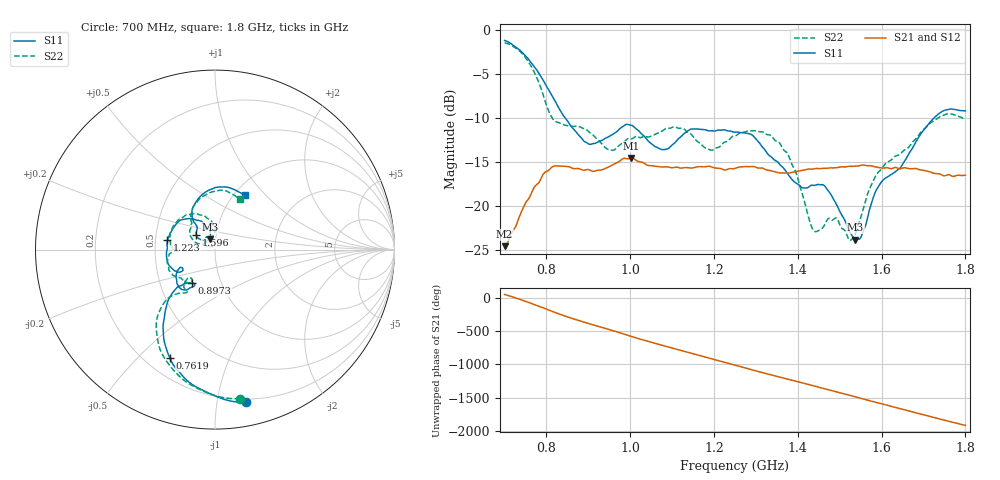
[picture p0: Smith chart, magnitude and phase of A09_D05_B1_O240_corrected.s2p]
! Created with skrf 1.9.0 (http://scikit-rf.org).
# Hz S RI R 50.0
!freq ReS11 ImS11 ReS21 ImS21 ReS12 ImS12 ReS22 ImS22
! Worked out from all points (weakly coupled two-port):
!   1601 points, 700 MHz to 1.8 GHz, reference 50 ohm
!   highest |S21| = -14.57 dB at 1.002 GHz (marker M1); lowest = -24.6 dB at 700 MHz (marker M2)
!   lowest |S11| = -23.8 dB at 1.537 GHz (marker M3), VSWR 1.14, Z = 46.9 + j5.44 ohm
!   |S11| at or under -10 dB: 844.1 MHz to 1.726 GHz (881.4 MHz wide, 68.6 % of centre)
!   |S22| runs from -23.9 to -1.5 dB; largest |S21 - S12| = 0.0035
!   S11 on the Smith chart (normalised r, x): 700 MHz: 0.17, -1.20; 761.9 MHz: 0.30, -0.63; 897.3 MHz: 0.72, -0.29; 1.223 GHz: 0.58, +0.07; 1.596 GHz: 0.80, +0.13; 1.8 GHz: 1.12, +0.77
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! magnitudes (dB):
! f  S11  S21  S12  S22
! 700 MHz  -1.2  -24.6  -24.4  -1.5
! 761.9 MHz  -3.7  -18.8  -18.7  -4.0
! 816.2 MHz  -7.7  -15.5  -15.6  -10.2
! 883.6 MHz  -12.3  -15.9  -15.8  -11.1
! 897.3 MHz  -12.9  -15.9  -16.0  -11.4
! 953 MHz  -12.0  -15.5  -15.5  -13.7
! 1.002 GHz  -10.8  -14.6  -14.7  -12.4
! 1.067 GHz  -13.4  -15.6  -15.5  -11.7
! 1.145 GHz  -11.3  -15.7  -15.7  -11.9
! 1.191 GHz  -11.5  -15.5  -15.6  -13.7
! 1.223 GHz  -11.4  -15.9  -15.9  -12.8
! 1.25 GHz  -11.6  -15.7  -15.7  -12.1
! 1.356 GHz  -15.2  -16.3  -16.2  -12.8
! 1.395 GHz  -17.4  -16.1  -16.1  -16.2
! 1.434 GHz  -17.7  -15.8  -15.8  -22.5
! 1.467 GHz  -17.9  -15.7  -15.7  -21.9
! 1.537 GHz  -23.8  -15.5  -15.5  -23.2
! 1.553 GHz  -23.2  -15.4  -15.4  -20.9
! 1.596 GHz  -17.5  -15.7  -15.7  -16.0
! 1.617 GHz  -16.6  -15.7  -15.7  -15.0
! 1.732 GHz  -9.7  -16.3  -16.4  -10.1
! 1.8 GHz  -9.2  -16.5  -16.5  -10.1
